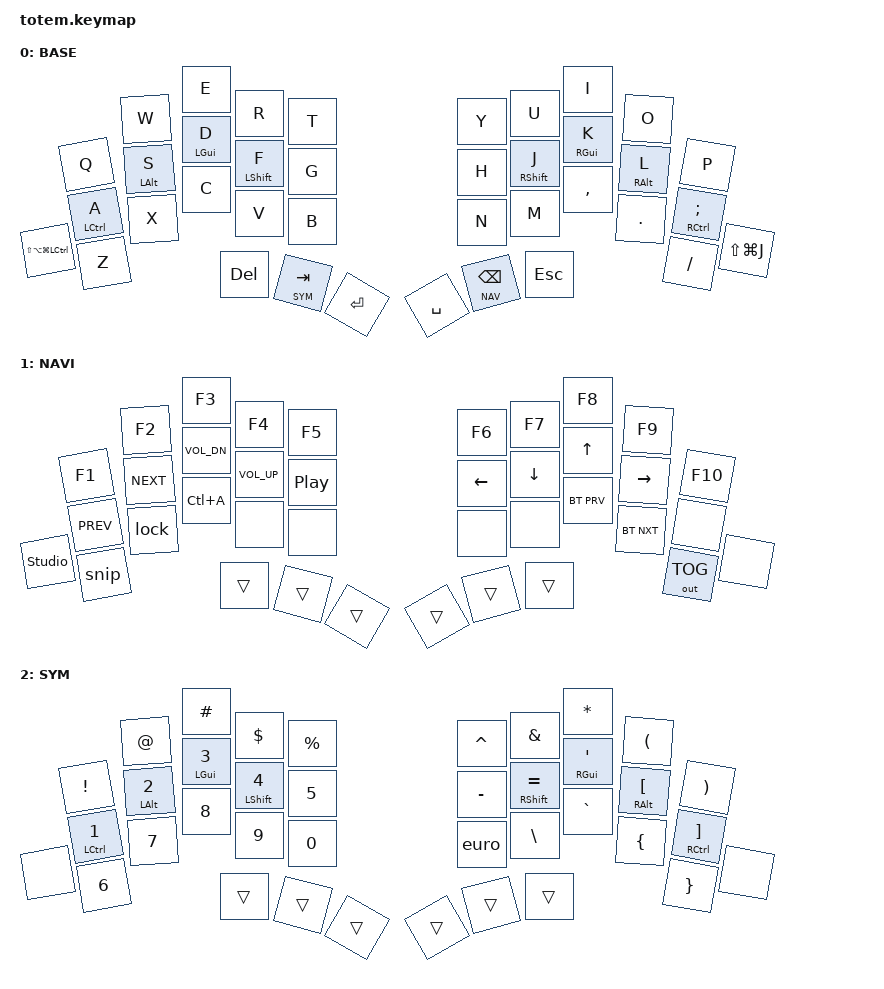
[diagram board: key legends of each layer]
//
//                                                        ▀▀▀▀▀     ▀▀▀▀▀          ▀▀█▀▀
//                                                        ▄▀▀▀▄  ▄  ▄▀▀▀▄  ▄  ▄▀▀▀▄  █  ▄▀▀▀▄
//                                                        █   █  █  █   █  █  █   █  █  █   █
//                                                         ▀▀▀   █   ▀▀▀   █   ▀▀▀   ▀   ▀▀▀
//                                                               █      ▄▄▄█▄▄▄    █   █  
//                                                               ▀      █  █  █     █▄█
//                                                             ▀▀▀▀▀    █  █  █      ▀
//                                                                      ▀  ▀  ▀
//
// ▄▄▄▄▄▄▄▄▄▄▄▄▄▄▄▄▄▄▄▄▄▄▄▄▄▄▄▄▄▄▄▄▄▄▄▄▄▄▄▄▄▄▄▄▄▄▄▄▄▄▄▄▄▄▄▄▄▄▄▄▄▄▄▄▄▄▄▄▄▄▄▄▄▄▄▄▄▄▄▄▄▄▄▄▄▄▄▄▄▄▄▄▄▄▄▄▄▄▄▄▄▄▄▄▄▄▄▄▄▄▄▄▄▄▄▄▄▄▄▄▄▄▄▄▄▄▄▄▄▄▄▄▄▄▄▄▄▄▄▄▄▄▄▄▄▄▄▄▄
       

#include <behaviors.dtsi>
#include <dt-bindings/zmk/keys.h>
#include <dt-bindings/zmk/bt.h>
#include <dt-bindings/zmk/outputs.h>

#define BASE 0
#define NAV  1
#define SYM  2

// Hyper on its own -- Ctrl+Alt+Gui+Shift held, nothing else. ZMK needs one of
// the four as the keycode and the other three as modifiers on it; the result is
// just the four modifiers. This is what Homerow's shortcut is set to.
#define HYPER LS(LA(LG(LCTRL)))

// Key positions in binding order, for positional hold-taps.
#define KEYS_L 0 1 2 3 4 10 11 12 13 14 20 21 22 23 24 25
#define KEYS_R 5 6 7 8 9 15 16 17 18 19 26 27 28 29 30 31
#define KEYS_T 32 33 34 35 36 37

// Generic mod-tap. Not used below, but ZMK Studio can assign it, so it keeps
// the conservative timing. require-prior-idle-ms replaces global-quick-tap.
&mt {
  quick-tap-ms = <200>;
  require-prior-idle-ms = <200>;
  flavor = "tap-preferred";
  tapping-term-ms = <300>;
};

// Tap Backspace, then press again within 200ms, and it repeat-deletes instead
// of re-entering NAV. Same for Tab on the left thumb.
&lt {
  quick-tap-ms = <200>;
};

/ {
    behaviors {
        // Home-row mods. `balanced` resolves the hold as soon as another key
        // is pressed and released, so a chord no longer costs the full
        // tapping term. hold-trigger-key-positions confines the hold to the
        // opposite hand, which is what makes these lower timings safe --
        // same-hand rolls resolve as taps and cannot misfire a modifier.
        ml: homerow_mod_left {
            compatible = "zmk,behavior-hold-tap";
            #binding-cells = <2>;
            flavor = "balanced";
            tapping-term-ms = <280>;
            quick-tap-ms = <175>;
            require-prior-idle-ms = <150>;
            bindings = <&kp>, <&kp>;
            hold-trigger-key-positions = <KEYS_R KEYS_T>;
            hold-trigger-on-release;
        };

        mr: homerow_mod_right {
            compatible = "zmk,behavior-hold-tap";
            #binding-cells = <2>;
            flavor = "balanced";
            tapping-term-ms = <280>;
            quick-tap-ms = <175>;
            require-prior-idle-ms = <150>;
            bindings = <&kp>, <&kp>;
            hold-trigger-key-positions = <KEYS_L KEYS_T>;
            hold-trigger-on-release;
        };
    };

     combos {
            compatible = "zmk,combos";
            combo_esc {
                timeout-ms = <50>;
                key-positions = <0 1>;
                bindings = <&kp ESC>;
            };
            // Clearing a bond is destructive, so it needs both outer keys --
            // one per hand -- while NAV is held. BT_CLR_ALL is gone: the
            // settings_reset firmware in build.yaml covers that case.
            combo_bt_clr {
                timeout-ms = <50>;
                key-positions = <20 31>;
                layers = <NAV>;
                bindings = <&bt BT_CLR>;
            };
    };

    macros {
        snip: snip {
            compatible = "zmk,behavior-macro";
            display-name = "SNIPPET_TOOL";
            #binding-cells = <0>;
            bindings
                = <&macro_press &kp LGUI &kp LSHFT>
                , <&macro_tap &kp N4>
                , <&macro_release &kp LGUI &kp LSHFT>;
        };
        lock: lock {
            compatible = "zmk,behavior-macro";
            display-name = "LOCK_SCREEN";
            #binding-cells = <0>;
            bindings
                = <&macro_press &kp LGUI &kp LCTRL>
                , <&macro_tap &kp Q>
                , <&macro_release &kp LGUI &kp LCTRL>;
        };
        // Option+Shift+2 is the euro sign on a US layout, but aerospace
        // binds alt-shift-2 to move-node-to-workspace 2 and gets there first,
        // so this drives the Character Viewer instead. Fragile by nature --
        // it depends on the search result order.
        euro: euro {
            compatible = "zmk,behavior-macro";
            display-name = "EURO";
            #binding-cells = <0>;
            bindings
                = <&macro_press &kp LGUI &kp LCTRL>
                , <&macro_tap &kp SPACE>
                , <&macro_release &kp LGUI &kp LCTRL>
                , <&macro_tap &kp E &kp U>
                , <&macro_tap &kp ENTER>;
        };
    };

        keymap {
                compatible = "zmk,keymap";
// ▄▄▄▄▄▄▄▄▄▄▄▄▄▄▄▄▄▄▄▄▄▄▄▄▄▄▄▄▄▄▄▄▄▄▄▄▄▄▄▄▄▄▄▄▄▄▄▄▄▄▄▄▄▄▄▄▄▄▄▄▄▄▄▄▄▄▄▄▄▄▄▄▄▄▄▄▄▄▄▄▄▄▄▄▄▄▄▄▄▄▄▄▄▄▄▄▄▄▄▄▄▄▄▄▄▄▄▄▄▄▄▄▄▄▄▄▄▄▄▄▄▄▄▄▄▄▄▄▄▄▄▄▄▄▄▄▄▄▄▄▄▄▄▄▄▄▄▄▄

                base_layer {
// ┏━━━━━━━━━━━━━━━━━━━━━━━━━━━━━━━━━━━━━━━┓
display-name = "BASE"                      ;
// ┗━━━━━━━━━━━━━━━━━━━━━━━━━━━━━━━━━━━━━━━┛
//             ┏━━━━━━━━━━━┳━━━━━━━━━━━┳━━━━━━━━━━━┳━━━━━━━━━━━┳━━━━━━━━━━━┓   ┏━━━━━━━━━━━┳━━━━━━━━━━━┳━━━━━━━━━━━┳━━━━━━━━━━━┳━━━━━━━━━━━┓
//             ┃     Q     ┃     W     ┃     E     ┃     R     ┃     T     ┃   ┃     Y     ┃     U     ┃     I     ┃     O     ┃     P     ┃
//             ┣━━━━━━━━━━━╋━━━━━━━━━━━╋━━━━━━━━━━━╋━━━━━━━━━━━╋━━━━━━━━━━━┫   ┣━━━━━━━━━━━╋━━━━━━━━━━━╋━━━━━━━━━━━╋━━━━━━━━━━━╋━━━━━━━━━━━┫
//             ┃     A     ┃     S     ┃     D     ┃     F     ┃     G     ┃   ┃     H     ┃     J     ┃     K     ┃     L     ┃     ;     ┃
// ┏━━━━━━━━━━━╋━━━━━━━━━━━╋━━━━━━━━━━━╋━━━━━━━━━━━╋━━━━━━━━━━━╋━━━━━━━━━━━┫   ┣━━━━━━━━━━━╋━━━━━━━━━━━╋━━━━━━━━━━━╋━━━━━━━━━━━╋━━━━━━━━━━━╋━━━━━━━━━━━┓
// ┃   CLICK   ┃     Z     ┃     X     ┃     C     ┃     V     ┃     B     ┃   ┃     N     ┃     M     ┃     ,     ┃     .     ┃     /     ┃  SCROLL   ┃
// ┗━━━━━━━━━━━┻━━━━━━━━━━━┻━━━━━━━━━━━╋━━━━━━━━━━━╋━━━━━━━━━━━╋━━━━━━━━━━━┫   ┣━━━━━━━━━━━╋━━━━━━━━━━━╋━━━━━━━━━━━╋━━━━━━━━━━━┻━━━━━━━━━━━┻━━━━━━━━━━━┛
//                                     ┃    DEL    ┃  SYM/TAB  ┃   ENTER   ┃   ┃    SPC    ┃  NAV/BSPC ┃    ESC    ┃
//                                     ┗━━━━━━━━━━━┻━━━━━━━━━━━┻━━━━━━━━━━━┛   ┗━━━━━━━━━━━┻━━━━━━━━━━━┻━━━━━━━━━━━┛
 bindings = <
// ╷           ╷           ╷           ╷           ╷           ╷           ╷   ╷           ╷           ╷           ╷           ╷           ╷           ╷

                &kp Q       &kp W       &kp E       &kp R       &kp T           &kp Y       &kp U       &kp I       &kp O       &kp P 
                &ml LCTRL A  &ml LALT S  &ml LGUI D &ml LSHFT F &kp G           &kp H       &mr RSHFT J &mr RGUI K &mr RALT L  &mr RCTRL SEMI
    &kp HYPER   &kp Z       &kp X       &kp C       &kp V       &kp B           &kp N       &kp M       &kp COMMA   &kp DOT     &kp FSLH    &kp LS(LG(J))
                                        &kp DEL    &lt SYM TAB  &kp RET         &kp SPACE  &lt NAV BSPC &kp ESC
                        >;
                };

// ▄▄▄▄▄▄▄▄▄▄▄▄▄▄▄▄▄▄▄▄▄▄▄▄▄▄▄▄▄▄▄▄▄▄▄▄▄▄▄▄▄▄▄▄▄▄▄▄▄▄▄▄▄▄▄▄▄▄▄▄▄▄▄▄▄▄▄▄▄▄▄▄▄▄▄▄▄▄▄▄▄▄▄▄▄▄▄▄▄▄▄▄▄▄▄▄▄▄▄▄▄▄▄▄▄▄▄▄▄▄▄▄▄▄▄▄▄▄▄▄▄▄▄▄▄▄▄▄▄▄▄▄▄▄▄▄▄▄▄▄▄▄▄▄▄▄▄▄▄


                nav_layer {
// ┏━━━━━━━━━━━━━━━━━━━━━━━━━━━━━━━━━━━━━━━┓
display-name = "NAVI"                      ;
// ┗━━━━━━━━━━━━━━━━━━━━━━━━━━━━━━━━━━━━━━━┛
//             ┏━━━━━━━━━━━┳━━━━━━━━━━━┳━━━━━━━━━━━┳━━━━━━━━━━━┳━━━━━━━━━━━┓   ┏━━━━━━━━━━━┳━━━━━━━━━━━┳━━━━━━━━━━━┳━━━━━━━━━━━┳━━━━━━━━━━━┓
//             ┃     F1    ┃     F2    ┃     F3    ┃     F4    ┃     F5    ┃   ┃     F6    ┃     F7    ┃     F8    ┃     F9    ┃    F10    ┃
//             ┣━━━━━━━━━━━╋━━━━━━━━━━━╋━━━━━━━━━━━╋━━━━━━━━━━━╋━━━━━━━━━━━┫   ┣━━━━━━━━━━━╋━━━━━━━━━━━╋━━━━━━━━━━━╋━━━━━━━━━━━╋━━━━━━━━━━━┫
//             ┃   PREV    ┃   NEXT    ┃ VOL DOWN  ┃  VOL UP   ┃PLAY/PAUSE ┃   ┃    LEFT   ┃    DOWN   ┃     UP    ┃   RIGHT   ┃           ┃
// ┏━━━━━━━━━━━╋━━━━━━━━━━━╋━━━━━━━━━━━╋━━━━━━━━━━━╋━━━━━━━━━━━╋━━━━━━━━━━━┫   ┣━━━━━━━━━━━╋━━━━━━━━━━━╋━━━━━━━━━━━╋━━━━━━━━━━━╋━━━━━━━━━━━╋━━━━━━━━━━━┓
// ┃  STUDIO   ┃   SNIP    ┃   LOCK    ┃   TMUX    ┃           ┃           ┃   ┃           ┃           ┃  BT PREV  ┃  BT NEXT  ┃  OUT TOG  ┃           ┃
// ┗━━━━━━━━━━━┻━━━━━━━━━━━┻━━━━━━━━━━━╋━━━━━━━━━━━╋━━━━━━━━━━━╋━━━━━━━━━━━┫   ┣━━━━━━━━━━━╋━━━━━━━━━━━╋━━━━━━━━━━━╋━━━━━━━━━━━┻━━━━━━━━━━━┻━━━━━━━━━━━┛
//                                     ┃   TRANS   ┃   TRANS   ┃   TRANS   ┃   ┃   TRANS   ┃   TRANS   ┃   TRANS   ┃
//                                     ┗━━━━━━━━━━━┻━━━━━━━━━━━┻━━━━━━━━━━━┛   ┗━━━━━━━━━━━┻━━━━━━━━━━━┻━━━━━━━━━━━┛
 bindings = <
// ╷           ╷           ╷           ╷           ╷           ╷           ╷   ╷           ╷           ╷           ╷           ╷           ╷           ╷

                &kp F1      &kp F2      &kp F3      &kp F4      &kp F5          &kp F6      &kp F7      &kp F8      &kp F9      &kp F10
              &kp C_PREV   &kp C_NEXT  &kp C_VOL_DN &kp C_VOL_UP &kp C_PP       &kp LEFT    &kp DOWN    &kp UP      &kp RIGHT   &none
 &studio_unlock &snip       &lock       &kp LC(A)   &none       &none           &none       &none       &bt BT_PRV  &bt BT_NXT  &out OUT_TOG &none
                                        &trans      &trans      &trans          &trans      &trans      &trans      
                        >;
                };

// ▄▄▄▄▄▄▄▄▄▄▄▄▄▄▄▄▄▄▄▄▄▄▄▄▄▄▄▄▄▄▄▄▄▄▄▄▄▄▄▄▄▄▄▄▄▄▄▄▄▄▄▄▄▄▄▄▄▄▄▄▄▄▄▄▄▄▄▄▄▄▄▄▄▄▄▄▄▄▄▄▄▄▄▄▄▄▄▄▄▄▄▄▄▄▄▄▄▄▄▄▄▄▄▄▄▄▄▄▄▄▄▄▄▄▄▄▄▄▄▄▄▄▄▄▄▄▄▄▄▄▄▄▄▄▄▄▄▄▄▄▄▄▄▄▄▄▄▄▄


                sym_layer {
// ┏━━━━━━━━━━━━━━━━━━━━━━━━━━━━━━━━━━━━━━━┓
display-name = "SYM"                       ;
// ┗━━━━━━━━━━━━━━━━━━━━━━━━━━━━━━━━━━━━━━━┛
//             ┏━━━━━━━━━━━┳━━━━━━━━━━━┳━━━━━━━━━━━┳━━━━━━━━━━━┳━━━━━━━━━━━┓   ┏━━━━━━━━━━━┳━━━━━━━━━━━┳━━━━━━━━━━━┳━━━━━━━━━━━┳━━━━━━━━━━━┓
//             ┃     !     ┃     @     ┃     #     ┃     $     ┃     %     ┃   ┃     ˆ     ┃     &     ┃     *     ┃     (     ┃     )     ┃
//             ┣━━━━━━━━━━━╋━━━━━━━━━━━╋━━━━━━━━━━━╋━━━━━━━━━━━╋━━━━━━━━━━━┫   ┣━━━━━━━━━━━╋━━━━━━━━━━━╋━━━━━━━━━━━╋━━━━━━━━━━━╋━━━━━━━━━━━┫
//             ┃     1     ┃     2     ┃     3     ┃     4     ┃     5     ┃   ┃    -/_    ┃    =/+    ┃    '/"    ┃     [     ┃     ]     ┃
// ┏━━━━━━━━━━━╋━━━━━━━━━━━╋━━━━━━━━━━━╋━━━━━━━━━━━╋━━━━━━━━━━━╋━━━━━━━━━━━┫   ┣━━━━━━━━━━━╋━━━━━━━━━━━╋━━━━━━━━━━━╋━━━━━━━━━━━╋━━━━━━━━━━━╋━━━━━━━━━━━┓
// ┃           ┃     6     ┃     7     ┃     8     ┃     9     ┃     0     ┃   ┃     €     ┃    \/|    ┃    `/~    ┃     {     ┃     }     ┃           ┃
// ┗━━━━━━━━━━━┻━━━━━━━━━━━┻━━━━━━━━━━━╋━━━━━━━━━━━╋━━━━━━━━━━━╋━━━━━━━━━━━┫   ┣━━━━━━━━━━━╋━━━━━━━━━━━╋━━━━━━━━━━━╋━━━━━━━━━━━┻━━━━━━━━━━━┻━━━━━━━━━━━┛
//                                     ┃   TRANS   ┃   TRANS   ┃   TRANS   ┃   ┃   TRANS   ┃   TRANS   ┃   TRANS   ┃
//                                     ┗━━━━━━━━━━━┻━━━━━━━━━━━┻━━━━━━━━━━━┛   ┗━━━━━━━━━━━┻━━━━━━━━━━━┻━━━━━━━━━━━┛
 bindings = <
// ╷           ╷           ╷           ╷           ╷           ╷           ╷   ╷           ╷           ╷           ╷           ╷           ╷           ╷

                &kp EXCL    &kp AT      &kp HASH    &kp DLLR    &kp PRCNT       &kp CARET   &kp AMPS    &kp STAR    &kp LPAR    &kp RPAR       
             &ml LCTRL N1 &ml LALT N2 &ml LGUI N3 &ml LSHFT N4  &kp N5          &kp MINUS   &mr RSHFT EQUAL    &mr RGUI APOS    &mr RALT LBKT    &mr RCTRL RBKT 
    &none       &kp N6      &kp N7      &kp N8      &kp N9      &kp N0          &euro       &kp BSLH    &kp GRAVE   &kp LBRC    &kp RBRC    &none         
                                        &trans      &trans      &trans          &trans      &trans      &trans      
                        >;
                };

// ▄▄▄▄▄▄▄▄▄▄▄▄▄▄▄▄▄▄▄▄▄▄▄▄▄▄▄▄▄▄▄▄▄▄▄▄▄▄▄▄▄▄▄▄▄▄▄▄▄▄▄▄▄▄▄▄▄▄▄▄▄▄▄▄▄▄▄▄▄▄▄▄▄▄▄▄▄▄▄▄▄▄▄▄▄▄▄▄▄▄▄▄▄▄▄▄▄▄▄▄▄▄▄▄▄▄▄▄▄▄▄▄▄▄▄▄▄▄▄▄▄▄▄▄▄▄▄▄▄▄▄▄▄▄▄▄▄▄▄▄▄▄▄▄▄▄▄▄▄

                // Spare slots for ZMK Studio: skipped by a normal build,
                // available to fill in from Studio without reflashing.
                extra1 {
                        status = "reserved";
                };

                extra2 {
                        status = "reserved";
                };

        };
};
